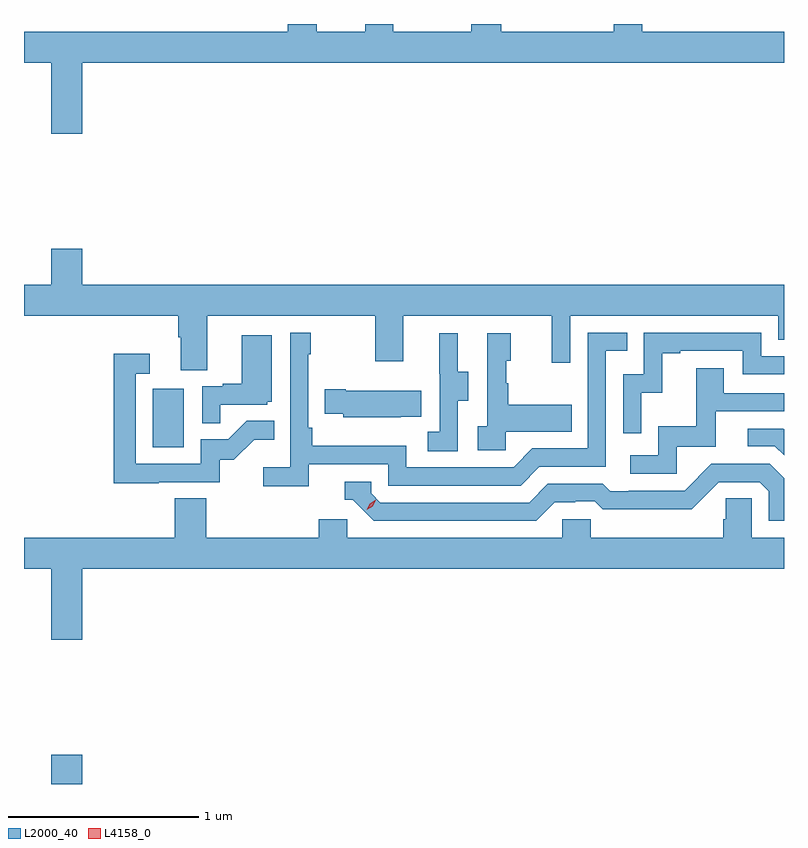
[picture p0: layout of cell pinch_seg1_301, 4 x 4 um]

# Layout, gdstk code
import gdstk
lib = gdstk.Library(unit=1e-6, precision=1e-09)
def R(c, l, rs):  # rectangles x0, y0, x1, y1
    for r in rs: c.add(gdstk.rectangle(r[:2], r[2:], *l))
def P(c, l, *ps):  # polygons
    for p in ps: c.add(gdstk.Polygon(p, *l))
L2000_40 = (2000, 40)
L4158_0 = (4158, 0)

pinch_seg1_301 = lib.new_cell('pinch_seg1_301')
R(pinch_seg1_301, L2000_40, [(920.252,542.608,920.416,542.761), (920.786,544.38,920.95,544.687)])
P(pinch_seg1_301, L2000_40, [(920.416,546.404),(924.109,546.404),(924.109,546.568),(923.364,546.568),(923.364,546.608),(923.213,546.608),(923.213,546.568),(922.622,546.568),(922.622,546.608),(922.462,546.608),(922.462,546.568),(922.053,546.568),(922.053,546.608),(921.905,546.608),(921.905,546.568),(921.649,546.568),(921.649,546.608),(921.497,546.608),(921.497,546.568),(920.109,546.568),(920.109,546.404),(920.252,546.404),(920.252,546.03),(920.416,546.03)],
  [(920.252,545.425),(920.252,545.236),(920.109,545.236),(920.109,545.072),(920.921,545.072),(920.921,544.96),(920.933,544.96),(920.933,544.786),(921.073,544.786),(921.073,545.072),(921.958,545.072),(921.958,544.833),(922.105,544.833),(922.105,545.072),(922.886,545.072),(922.886,544.824),(922.983,544.824),(922.983,545.072),(924.078,545.072),(924.078,544.945),(924.109,544.945),(924.109,545.236),(920.416,545.236),(920.416,545.425)],
  [(921.608,544.29),(922.026,544.29),(922.026,544.179),(922.723,544.179),(922.822,544.278),(923.172,544.278),(923.172,544.887),(923.285,544.887),(923.285,544.983),(923.076,544.983),(923.076,544.374),(922.785,544.374),(922.686,544.275),(922.122,544.275),(922.122,544.387),(921.626,544.387),(921.626,544.483),(921.606,544.483),(921.606,544.871),(921.619,544.871),(921.619,544.984),(921.51,544.984),(921.51,544.276),(921.369,544.276),(921.369,544.174),(921.608,544.174)],
  [(923.358,544.667),(923.468,544.667),(923.468,544.875),(923.563,544.875),(923.563,544.887),(923.892,544.887),(923.892,544.764),(924.109,544.764),(924.109,544.86),(923.988,544.86),(923.988,544.983),(923.37,544.983),(923.37,544.764),(923.262,544.764),(923.262,544.455),(923.358,544.455)],
  [(922.392,544.624),(922.447,544.624),(922.447,544.779),(922.393,544.779),(922.393,544.981),(922.295,544.981),(922.295,544.767),(922.296,544.767),(922.296,544.463),(922.233,544.463),(922.233,544.36),(922.392,544.36)],
  [(922.644,544.463),(922.991,544.463),(922.991,544.603),(922.657,544.603),(922.657,544.718),(922.647,544.718),(922.647,544.836),(922.672,544.836),(922.672,544.981),(922.548,544.981),(922.548,544.49),(922.497,544.49),(922.497,544.365),(922.644,544.365)],
  [(921.143,544.605),(921.39,544.605),(921.39,544.62),(921.412,544.62),(921.412,544.969),(921.254,544.969),(921.254,544.714),(921.155,544.714),(921.155,544.701),(921.048,544.701),(921.048,544.507),(921.143,544.507)],
  [(920.819,544.197),(921.138,544.197),(921.138,544.314),(921.214,544.314),(921.321,544.421),(921.425,544.421),(921.425,544.52),(921.281,544.52),(921.183,544.422),(921.039,544.422),(921.039,544.293),(920.697,544.293),(920.697,544.767),(920.77,544.767),(920.77,544.873),(920.581,544.873),(920.581,544.192),(920.819,544.192)],
  [(923.544,544.383),(923.749,544.383),(923.749,544.569),(924.109,544.569),(924.109,544.665),(923.791,544.665),(923.791,544.795),(923.647,544.795),(923.647,544.492),(923.448,544.492),(923.448,544.338),(923.301,544.338),(923.301,544.242),(923.544,544.242)],
  [(922.091,544.541),(922.199,544.541),(922.199,544.678),(921.802,544.678),(921.802,544.686),(921.691,544.686),(921.691,544.556),(921.789,544.556),(921.789,544.538),(922.091,544.538)],
  [(924.109,544.476),(924.106,544.479),(923.919,544.479),(923.919,544.386),(924.06,544.386),(924.109,544.337)],
  [(922.903,544.092),(923.01,544.092),(923.01,544.095),(923.113,544.095),(923.155,544.053),(923.388,544.053),(923.388,544.055),(923.624,544.055),(923.766,544.197),(923.982,544.197),(924.03,544.149),(924.03,543.993),(924.109,543.993),(924.109,544.217),(924.033,544.293),(923.727,544.293),(923.586,544.152),(923.293,544.152),(923.293,544.149),(923.194,544.149),(923.155,544.188),(922.866,544.188),(922.767,544.089),(921.984,544.089),(921.936,544.137),(921.936,544.2),(921.797,544.2),(921.797,544.104),(921.84,544.104),(921.951,543.993),(922.804,543.993)],
  [(920.416,543.74),(924.109,543.74),(924.109,543.904),(923.94,543.904),(923.94,544.112),(923.803,544.112),(923.803,544.002),(923.789,544.002),(923.789,543.904),(923.091,543.904),(923.091,544.002),(922.941,544.002),(922.941,543.904),(921.81,543.904),(921.81,544.002),(921.659,544.002),(921.659,543.904),(921.068,543.904),(921.068,544.112),(920.903,544.112),(920.903,543.904),(920.109,543.904),(920.109,543.74),(920.252,543.74),(920.252,543.366),(920.416,543.366)])
P(pinch_seg1_301, L4158_0, [(921.913,544.051),(921.913,544.051),(921.929,544.084),(921.959,544.103),(921.96,544.103),(921.96,544.103),(921.944,544.07),(921.913,544.051)])

lib.write_gds('pinch_seg1_301.gds')
